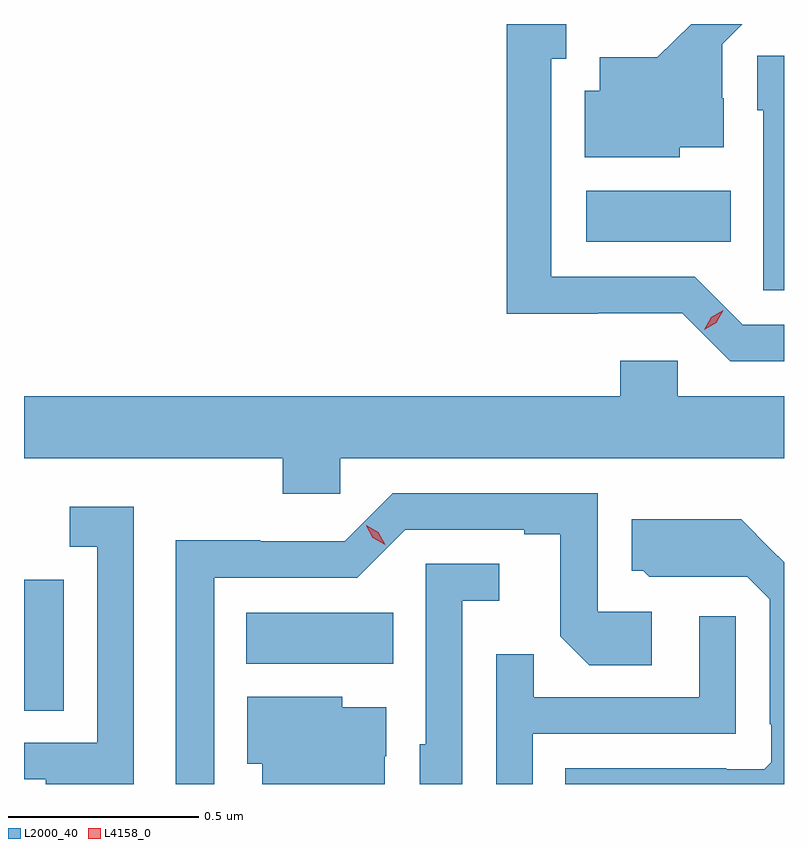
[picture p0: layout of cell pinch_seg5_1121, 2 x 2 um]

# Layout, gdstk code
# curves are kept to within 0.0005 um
import gdstk
lib = gdstk.Library(unit=1e-6, precision=1e-09)
def R(c, l, rs):  # rectangles x0, y0, x1, y1
    for r in rs: c.add(gdstk.rectangle(r[:2], r[2:], *l))
def P(c, l, *ps):  # polygons
    for p in ps: c.add(gdstk.Polygon(p, *l))
L2000_40 = (2000, 40)
L4158_0 = (4158, 0)

pinch_seg5_1121 = lib.new_cell('pinch_seg5_1121')
R(pinch_seg5_1121, L2000_40, [(800.786,866.752,800.89,867.096), (801.371,866.876,801.758,867.01), (802.266,867.986,802.646,868.12)])
P(pinch_seg5_1121, L2000_40, [(802.512,868.235),(802.627,868.235),(802.627,868.364),(802.623,868.364),(802.623,868.506),(802.676,868.559),(802.542,868.559),(802.453,868.471),(802.301,868.471),(802.301,868.384),(802.262,868.384),(802.262,868.208),(802.512,868.208)],
  [(802.786,867.768),(802.677,867.768),(802.551,867.894),(802.174,867.894),(802.174,868.467),(802.213,868.467),(802.213,868.559),(802.056,868.559),(802.056,867.797),(802.296,867.797),(802.296,867.798),(802.518,867.798),(802.644,867.672),(802.786,867.672)],
  [(802.786,868.475),(802.716,868.475),(802.716,868.332),(802.731,868.332),(802.731,867.858),(802.786,867.858)],
  [(801.618,867.416),(802.786,867.416),(802.786,867.58),(802.506,867.58),(802.506,867.673),(802.355,867.673),(802.355,867.58),(800.786,867.58),(800.786,867.416),(801.467,867.416),(801.467,867.323),(801.618,867.323)],
  [(801.286,867.102),(801.663,867.102),(801.789,867.228),(802.103,867.228),(802.103,867.216),(802.197,867.216),(802.197,866.948),(802.273,866.872),(802.438,866.872),(802.438,867.012),(802.296,867.012),(802.296,867.324),(801.756,867.324),(801.63,867.198),(801.408,867.198),(801.408,867.2),(801.185,867.2),(801.185,866.559),(801.286,866.559)],
  [(801.075,867.289),(800.907,867.289),(800.907,867.183),(800.979,867.183),(800.979,866.667),(800.786,866.667),(800.786,866.571),(800.843,866.571),(800.843,866.559),(801.075,866.559)],
  [(802.786,867.142),(802.673,867.256),(802.385,867.256),(802.385,867.12),(802.416,867.12),(802.432,867.104),(802.566,867.104),(802.566,867.105),(802.689,867.105),(802.749,867.045),(802.749,866.716),(802.752,866.716),(802.752,866.616),(802.734,866.598),(802.634,866.598),(802.634,866.601),(802.21,866.601),(802.21,866.559),(802.786,866.559)],
  [(801.939,867.041),(802.036,867.041),(802.036,867.138),(801.843,867.138),(801.843,866.664),(801.828,866.664),(801.828,866.559),(801.939,866.559)],
  [(802.125,866.691),(802.659,866.691),(802.659,867.001),(802.563,867.001),(802.563,866.787),(802.127,866.787),(802.127,866.9),(802.029,866.9),(802.029,866.559),(802.125,866.559)],
  [(801.735,866.632),(801.739,866.632),(801.739,866.761),(801.624,866.761),(801.624,866.788),(801.374,866.788),(801.374,866.612),(801.413,866.612),(801.413,866.559),(801.735,866.559)])
P(pinch_seg5_1121, L4158_0, [(801.736,867.188),(801.704,867.207),(801.686,867.239),(801.686,867.24),(801.686,867.24),(801.718,867.221),(801.736,867.189),(801.736,867.188)],
  [(802.576,867.754),(802.576,867.755),(802.594,867.787),(802.626,867.806),(802.626,867.806),(802.626,867.806),(802.608,867.773),(802.576,867.754)])

lib.write_gds('pinch_seg5_1121.gds')
